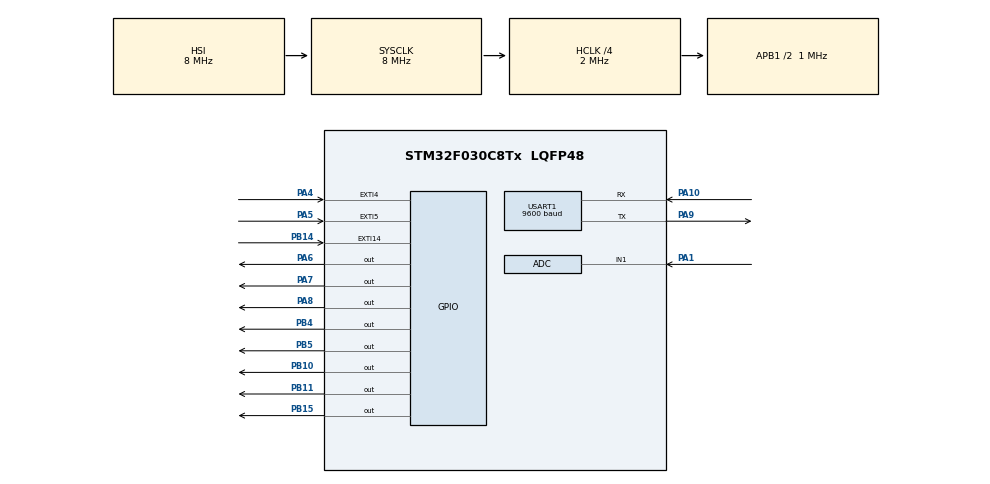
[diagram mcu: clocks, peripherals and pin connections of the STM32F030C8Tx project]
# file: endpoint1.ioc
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ADC.ClockPrescaler=ADC_CLOCK_ASYNC_DIV1
ADC.ContinuousConvMode=DISABLE
ADC.DMAContinuousRequests=DISABLE
ADC.DataAlign=ADC_DATAALIGN_RIGHT
ADC.DiscontinuousConvMode=DISABLE
ADC.EOCSelection=ADC_EOC_SINGLE_CONV
ADC.EnableAnalogWatchDog=false
ADC.ExternalTrigConv=ADC_SOFTWARE_START
ADC.ExternalTrigConvEdge=ADC_EXTERNALTRIGCONVEDGE_NONE
ADC.LowPowerAutoPowerOff=ENABLE
ADC.LowPowerAutoWait=DISABLE
ADC.Overrun=ADC_OVR_DATA_PRESERVED
ADC.Resolution=ADC_RESOLUTION_8B
ADC.SamplingTime=ADC_SAMPLETIME_28CYCLES_5
ADC.ScanConvMode=ADC_SCAN_DIRECTION_FORWARD
Dma.Request0=USART1_RX
Dma.Request1=USART1_TX
Dma.USART1_RX.0.Direction=DMA_PERIPH_TO_MEMORY
Dma.USART1_RX.0.Instance=DMA1_Channel3
Dma.USART1_RX.0.MemDataAlignment=DMA_MDATAALIGN_BYTE
Dma.USART1_RX.0.MemInc=DMA_MINC_ENABLE
Dma.USART1_RX.0.Mode=DMA_CIRCULAR
Dma.USART1_RX.0.PeriphDataAlignment=DMA_PDATAALIGN_BYTE
Dma.USART1_RX.0.PeriphInc=DMA_PINC_DISABLE
Dma.USART1_RX.0.Priority=DMA_PRIORITY_LOW
Dma.USART1_TX.1.Direction=DMA_MEMORY_TO_PERIPH
Dma.USART1_TX.1.Instance=DMA1_Channel2
Dma.USART1_TX.1.MemDataAlignment=DMA_MDATAALIGN_BYTE
Dma.USART1_TX.1.MemInc=DMA_MINC_ENABLE
Dma.USART1_TX.1.Mode=DMA_NORMAL
Dma.USART1_TX.1.PeriphDataAlignment=DMA_PDATAALIGN_BYTE
Dma.USART1_TX.1.PeriphInc=DMA_PINC_DISABLE
Dma.USART1_TX.1.Priority=DMA_PRIORITY_LOW
Mcu.Family=STM32F0
Mcu.Name=STM32F030C8Tx
Mcu.Package=LQFP48
NVIC.ADC1_IRQn=true\:1\:0\:true\:false\:true\:true
NVIC.DMA1_Channel2_3_IRQn=true\:0\:0\:false\:false\:true\:false
NVIC.EXTI4_15_IRQn=true\:0\:0\:true\:false\:true\:true
NVIC.RTC_IRQn=true\:0\:0\:false\:false\:true\:true
NVIC.TIM6_IRQn=true\:0\:0\:true\:false\:true\:true
NVIC.USART1_IRQn=true\:0\:0\:true\:false\:true\:true
PA1.Mode=IN1
PA1.Signal=ADC_IN1
PA10.Mode=Asynchronous
PA10.Signal=USART1_RX
PA13.Mode=Serial_Wire
PA13.Signal=SYS_SWDIO
PA14.Mode=Serial_Wire
PA14.Signal=SYS_SWCLK
PA4.GPIO_ModeDefaultEXTI=GPIO_MODE_IT_RISING_FALLING
PA4.GPIO_PuPd=GPIO_PULLUP
PA4.Signal=GPXTI4
PA5.GPIO_ModeDefaultEXTI=GPIO_MODE_IT_RISING_FALLING
PA5.GPIO_PuPd=GPIO_PULLUP
PA5.Signal=GPXTI5
PA6.Signal=GPIO_Output
PA7.Signal=GPIO_Output
PA8.Signal=GPIO_Output
PA9.Mode=Asynchronous
PA9.Signal=USART1_TX
PB10.Signal=GPIO_Output
PB11.Signal=GPIO_Output
PB14.GPIO_ModeDefaultEXTI=GPIO_MODE_IT_RISING_FALLING
PB14.GPIO_PuPd=GPIO_PULLUP
PB14.Signal=GPXTI14
PB15.Signal=GPIO_Output
PB4.Signal=GPIO_Output
PB5.Signal=GPIO_Output
ProjectManager.HeapSize=0x200
ProjectManager.StackSize=0x400
ProjectManager.TargetToolchain=EWARM V7
RCC.AHBCLKDivider=RCC_SYSCLK_DIV4
RCC.AHBFreq_Value=2000000
RCC.APB1CLKDivider=RCC_HCLK_DIV2
RCC.APB1Freq_Value=1000000
RCC.APB1TimFreq_Value=2000000
RCC.HCLKFreq_Value=2000000
RCC.PLLMUL=RCC_PLL_MUL4
RCC.SYSCLKFreq_VALUE=8000000
RTC.Alarm-Alarm\ A=RTC_ALARM_A
TIM6.AutoReloadPreload=TIM_AUTORELOAD_PRELOAD_ENABLE
TIM6.Period=100
TIM6.Prescaler=2000
USART1.BaudRate=9600
USART1.Parity=PARITY_NONE
USART1.VirtualMode-Asynchronous=VM_ASYNC
USART1.WordLength=WORDLENGTH_8B
VP_RTC_VS_RTC_Activate.Mode=RTC_Enabled
VP_RTC_VS_RTC_Alarm_A_Intern.Mode=Alarm A
VP_RTC_VS_RTC_Calendar.Mode=RTC_Calendar
VP_TIM6_VS_ClockSourceINT.Mode=Enable_Timer
board=custom

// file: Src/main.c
/**
  ******************************************************************************
  * @file           : main.c
  * @brief          : Main program body
  ******************************************************************************
  ** This notice applies to any and all portions of this file
  * that are not between comment pairs USER CODE BEGIN and
  * USER CODE END. Other portions of this file, whether
  * inserted by the user or by software development tools
  * are owned by their respective copyright owners.
  *
  * COPYRIGHT(c) 2018 STMicroelectronics
  *
  * Redistribution and use in source and binary forms, with or without modification,
  * are permitted provided that the following conditions are met:
  *   1. Redistributions of source code must retain the above copyright notice,
  *      this list of conditions and the following disclaimer.
  *   2. Redistributions in binary form must reproduce the above copyright notice,
  *      this list of conditions and the following disclaimer in the documentation
  *      and/or other materials provided with the distribution.
  *   3. Neither the name of STMicroelectronics nor the names of its contributors
  *      may be used to endorse or promote products derived from this software
  *      without specific prior written permission.
  *
  * THIS SOFTWARE IS PROVIDED BY THE COPYRIGHT HOLDERS AND CONTRIBUTORS "AS IS"
  * AND ANY EXPRESS OR IMPLIED WARRANTIES, INCLUDING, BUT NOT LIMITED TO, THE
  * IMPLIED WARRANTIES OF MERCHANTABILITY AND FITNESS FOR A PARTICULAR PURPOSE ARE
  * DISCLAIMED. IN NO EVENT SHALL THE COPYRIGHT HOLDER OR CONTRIBUTORS BE LIABLE
  * FOR ANY DIRECT, INDIRECT, INCIDENTAL, SPECIAL, EXEMPLARY, OR CONSEQUENTIAL
  * DAMAGES (INCLUDING, BUT NOT LIMITED TO, PROCUREMENT OF SUBSTITUTE GOODS OR
  * SERVICES; LOSS OF USE, DATA, OR PROFITS; OR BUSINESS INTERRUPTION) HOWEVER
  * CAUSED AND ON ANY THEORY OF LIABILITY, WHETHER IN CONTRACT, STRICT LIABILITY,
  * OR TORT (INCLUDING NEGLIGENCE OR OTHERWISE) ARISING IN ANY WAY OUT OF THE USE
  * OF THIS SOFTWARE, EVEN IF ADVISED OF THE POSSIBILITY OF SUCH DAMAGE.
  *
  ******************************************************************************
  */
#include "main.h"
#include "stm32f0xx_hal.h"

/* USER CODE BEGIN Includes */
#include "Lora.h"
#include "beep.h"
#include "motor.h"
#include "hardware.h"
#include "crc16.h"
#include "lowpower.h"
/* USER CODE END Includes */

ADC_HandleTypeDef hadc;

RTC_HandleTypeDef hrtc;

TIM_HandleTypeDef htim6;

UART_HandleTypeDef huart1;
DMA_HandleTypeDef hdma_usart1_rx;
DMA_HandleTypeDef hdma_usart1_tx;

/* USER CODE BEGIN PV */
/* Private variables ---------------------------------------------------------*/
RTC_HandleTypeDef hrtc;
LoraPacket      gLoraPacket;
Device          gDevice;
uint32_t        gCount = 0;
uint8_t         gRTC_Flag = 0;
/* USER CODE END PV */

void SystemClock_Config(void);
static void MX_GPIO_Init(void);
static void MX_DMA_Init(void);
static void MX_USART1_UART_Init(void);
static void MX_ADC_Init(void);
static void MX_TIM6_Init(void);
static void MX_RTC_Init(void);

/* USER CODE BEGIN PFP */
/* Private function prototypes -----------------------------------------------*/

/* USER CODE END PFP */

int main(void)
{
  /* USER CODE BEGIN 1 */
    uint8_t mode = 0;
  /* USER CODE END 1 */

  /* MCU Configuration----------------------------------------------------------*/

  /* Reset of all peripherals, Initializes the Flash interface and the Systick. */
  HAL_Init();

  /* Configure the system clock */
  SystemClock_Config();

  /* Initialize all configured peripherals */
  MX_GPIO_Init();
  MX_DMA_Init();
  MX_USART1_UART_Init();
  MX_ADC_Init();
  MX_TIM6_Init();
  MX_RTC_Init();

  /* Infinite loop */
  /* USER CODE BEGIN WHILE */
    motor_init();

    LoraSetAndReadParamter(&huart1);

    //低功耗模式下调试延时，如果不加很难再次刷程序
    HAL_Delay(5000);

    CloseNotUsedPeriphClock();

    while (1)
    {

  /* USER CODE END WHILE */

  /* USER CODE BEGIN 3 */
        //理想情况是，有数据的时�?，aux会输出低电压�?
        //延迟2-3ms后数据�?过串口发送给mcu
        LowPowerInit(mode);
        HAL_PWR_EnterSTOPMode(PWR_LOWPOWERREGULATOR_ON, PWR_STOPENTRY_WFI);

        //while(gLoraPacket.isIdle);

        //时钟配置清空
        HAL_RCC_DeInit();
        //HSI时钟使能
        __HAL_RCC_DISABLE_IT(RCC_IT_HSIRDY);
        __HAL_RCC_HSI_ENABLE();
        while(!__HAL_RCC_GET_FLAG(RCC_FLAG_HSIRDY));
        //配置时钟和DMA
        SystemClock_Config();
        MX_DMA_Init();
        //串口重新配置
        UART_ReInit(&huart1);
        //等待接收数据完成
        while(!gLoraPacket.isIdle);
#if 1
        //判断系统唤醒类型，分别是adc中断唤醒，电机检测引脚中断唤�?
        //和aux引脚中断唤醒
        if (mode) {
            //在这唤醒的话那么就执行发送函数发送回应的数据
            if ( SyncCMDDone() == 1) {
                mode = 0;
            }
        } else {
            mode = ProcessTheData();
        }
#endif
    }
  /* USER CODE END 3 */

}

void SystemClock_Config(void)
{

  RCC_OscInitTypeDef RCC_OscInitStruct;
  RCC_ClkInitTypeDef RCC_ClkInitStruct;
  RCC_PeriphCLKInitTypeDef PeriphClkInit;

    /**Initializes the CPU, AHB and APB busses clocks
    */
  RCC_OscInitStruct.OscillatorType = RCC_OSCILLATORTYPE_HSI|RCC_OSCILLATORTYPE_HSI14
                              |RCC_OSCILLATORTYPE_LSI;
  RCC_OscInitStruct.HSIState = RCC_HSI_ON;
  RCC_OscInitStruct.HSI14State = RCC_HSI14_ON;
  RCC_OscInitStruct.HSICalibrationValue = 16;
  RCC_OscInitStruct.HSI14CalibrationValue = 16;
  RCC_OscInitStruct.LSIState = RCC_LSI_ON;
  RCC_OscInitStruct.PLL.PLLState = RCC_PLL_NONE;
  if (HAL_RCC_OscConfig(&RCC_OscInitStruct) != HAL_OK)
  {
    _Error_Handler(__FILE__, __LINE__);
  }

    /**Initializes the CPU, AHB and APB busses clocks
    */
  RCC_ClkInitStruct.ClockType = RCC_CLOCKTYPE_HCLK|RCC_CLOCKTYPE_SYSCLK
                              |RCC_CLOCKTYPE_PCLK1;
  RCC_ClkInitStruct.SYSCLKSource = RCC_SYSCLKSOURCE_HSI;
  RCC_ClkInitStruct.AHBCLKDivider = RCC_SYSCLK_DIV4;
  RCC_ClkInitStruct.APB1CLKDivider = RCC_HCLK_DIV2;

  if (HAL_RCC_ClockConfig(&RCC_ClkInitStruct, FLASH_LATENCY_0) != HAL_OK)
  {
    _Error_Handler(__FILE__, __LINE__);
  }

  PeriphClkInit.PeriphClockSelection = RCC_PERIPHCLK_USART1|RCC_PERIPHCLK_RTC;
  PeriphClkInit.Usart1ClockSelection = RCC_USART1CLKSOURCE_PCLK1;
  PeriphClkInit.RTCClockSelection = RCC_RTCCLKSOURCE_LSI;
  if (HAL_RCCEx_PeriphCLKConfig(&PeriphClkInit) != HAL_OK)
  {
    _Error_Handler(__FILE__, __LINE__);
  }

    /**Configure the Systick interrupt time
    */
  HAL_SYSTICK_Config(HAL_RCC_GetHCLKFreq()/1000);

    /**Configure the Systick
    */
  HAL_SYSTICK_CLKSourceConfig(SYSTICK_CLKSOURCE_HCLK);

  /* SysTick_IRQn interrupt configuration */
  HAL_NVIC_SetPriority(SysTick_IRQn, 0, 0);
}

/* ADC init function */
static void MX_ADC_Init(void)
{

  ADC_ChannelConfTypeDef sConfig;

    /**Configure the global features of the ADC (Clock, Resolution, Data Alignment and number of conversion)
    */
  hadc.Instance = ADC1;
  hadc.Init.ClockPrescaler = ADC_CLOCK_ASYNC_DIV1;
  hadc.Init.Resolution = ADC_RESOLUTION_8B;
  hadc.Init.DataAlign = ADC_DATAALIGN_RIGHT;
  hadc.Init.ScanConvMode = ADC_SCAN_DIRECTION_FORWARD;
  hadc.Init.EOCSelection = ADC_EOC_SINGLE_CONV;
  hadc.Init.LowPowerAutoWait = DISABLE;
  hadc.Init.LowPowerAutoPowerOff = ENABLE;
  hadc.Init.ContinuousConvMode = DISABLE;
  hadc.Init.DiscontinuousConvMode = DISABLE;
  hadc.Init.ExternalTrigConv = ADC_SOFTWARE_START;
  hadc.Init.ExternalTrigConvEdge = ADC_EXTERNALTRIGCONVEDGE_NONE;
  hadc.Init.DMAContinuousRequests = DISABLE;
  hadc.Init.Overrun = ADC_OVR_DATA_PRESERVED;
  if (HAL_ADC_Init(&hadc) != HAL_OK)
  {
    _Error_Handler(__FILE__, __LINE__);
  }

    /**Configure for the selected ADC regular channel to be converted.
    */
  sConfig.Channel = ADC_CHANNEL_1;
  sConfig.Rank = ADC_RANK_CHANNEL_NUMBER;
  sConfig.SamplingTime = ADC_SAMPLETIME_28CYCLES_5;
  if (HAL_ADC_ConfigChannel(&hadc, &sConfig) != HAL_OK)
  {
    _Error_Handler(__FILE__, __LINE__);
  }

}

/* RTC init function */
static void MX_RTC_Init(void)
{

  RTC_TimeTypeDef sTime;
  RTC_DateTypeDef sDate;
  RTC_AlarmTypeDef sAlarm;

    /**Initialize RTC Only
    */
  hrtc.Instance = RTC;
  hrtc.Init.HourFormat = RTC_HOURFORMAT_24;
  hrtc.Init.AsynchPrediv = 127;
  hrtc.Init.SynchPrediv = 255;
  hrtc.Init.OutPut = RTC_OUTPUT_DISABLE;
  hrtc.Init.OutPutPolarity = RTC_OUTPUT_POLARITY_HIGH;
  hrtc.Init.OutPutType = RTC_OUTPUT_TYPE_OPENDRAIN;
  if (HAL_RTC_Init(&hrtc) != HAL_OK)
  {
    _Error_Handler(__FILE__, __LINE__);
  }

    /**Initialize RTC and set the Time and Date
    */
  sTime.Hours = 0x0;
  sTime.Minutes = 0x0;
  sTime.Seconds = 0x0;
  sTime.DayLightSaving = RTC_DAYLIGHTSAVING_NONE;
  sTime.StoreOperation = RTC_STOREOPERATION_RESET;
  if (HAL_RTC_SetTime(&hrtc, &sTime, RTC_FORMAT_BCD) != HAL_OK)
  {
    _Error_Handler(__FILE__, __LINE__);
  }

  sDate.WeekDay = RTC_WEEKDAY_MONDAY;
  sDate.Month = RTC_MONTH_JANUARY;
  sDate.Date = 0x1;
  sDate.Year = 0x0;

  if (HAL_RTC_SetDate(&hrtc, &sDate, RTC_FORMAT_BCD) != HAL_OK)
  {
    _Error_Handler(__FILE__, __LINE__);
  }

    /**Enable the Alarm A
    */
  sAlarm.AlarmTime.Hours = 0x0;
  sAlarm.AlarmTime.Minutes = 0x0;
  sAlarm.AlarmTime.Seconds = 0x0;
  sAlarm.AlarmTime.SubSeconds = 0x0;
  sAlarm.AlarmTime.DayLightSaving = RTC_DAYLIGHTSAVING_NONE;
  sAlarm.AlarmTime.StoreOperation = RTC_STOREOPERATION_RESET;
  sAlarm.AlarmMask = RTC_ALARMMASK_NONE;
  sAlarm.AlarmSubSecondMask = RTC_ALARMSUBSECONDMASK_ALL;
  sAlarm.AlarmDateWeekDaySel = RTC_ALARMDATEWEEKDAYSEL_DATE;
  sAlarm.AlarmDateWeekDay = 0x1;
  sAlarm.Alarm = RTC_ALARM_A;
  if (HAL_RTC_SetAlarm_IT(&hrtc, &sAlarm, RTC_FORMAT_BCD) != HAL_OK)
  {
    _Error_Handler(__FILE__, __LINE__);
  }

}

/* TIM6 init function */
static void MX_TIM6_Init(void)
{

  htim6.Instance = TIM6;
  htim6.Init.Prescaler = 2000;
  htim6.Init.CounterMode = TIM_COUNTERMODE_UP;
  htim6.Init.Period = 100;
  htim6.Init.AutoReloadPreload = TIM_AUTORELOAD_PRELOAD_ENABLE;
  if (HAL_TIM_Base_Init(&htim6) != HAL_OK)
  {
    _Error_Handler(__FILE__, __LINE__);
  }

}

/* USART1 init function */
static void MX_USART1_UART_Init(void)
{

  huart1.Instance = USART1;
  huart1.Init.BaudRate = 9600;
  huart1.Init.WordLength = UART_WORDLENGTH_8B;
  huart1.Init.StopBits = UART_STOPBITS_1;
  huart1.Init.Parity = UART_PARITY_NONE;
  huart1.Init.Mode = UART_MODE_TX_RX;
  huart1.Init.HwFlowCtl = UART_HWCONTROL_NONE;
  huart1.Init.OverSampling = UART_OVERSAMPLING_16;
  huart1.Init.OneBitSampling = UART_ONE_BIT_SAMPLE_DISABLE;
  huart1.AdvancedInit.AdvFeatureInit = UART_ADVFEATURE_NO_INIT;
  if (HAL_UART_Init(&huart1) != HAL_OK)
  {
    _Error_Handler(__FILE__, __LINE__);
  }

}

static void MX_DMA_Init(void)
{
  /* DMA controller clock enable */
  __HAL_RCC_DMA1_CLK_ENABLE();

  /* DMA interrupt init */
  /* DMA1_Channel2_3_IRQn interrupt configuration */
  HAL_NVIC_SetPriority(DMA1_Channel2_3_IRQn, 0, 0);
  HAL_NVIC_EnableIRQ(DMA1_Channel2_3_IRQn);

}

/** Configure pins as
        * Analog
        * Input
        * Output
        * EVENT_OUT
        * EXTI
        * Free pins are configured automatically as Analog (this feature is enabled through
        * the Code Generation settings)
*/
static void MX_GPIO_Init(void)
{

  GPIO_InitTypeDef GPIO_InitStruct;

  /* GPIO Ports Clock Enable */
  __HAL_RCC_GPIOC_CLK_ENABLE();
  __HAL_RCC_GPIOF_CLK_ENABLE();
  __HAL_RCC_GPIOA_CLK_ENABLE();
  __HAL_RCC_GPIOB_CLK_ENABLE();

  /*Configure GPIO pin Output Level */
  HAL_GPIO_WritePin(GPIOA, GPIO_PIN_6|GPIO_PIN_7|GPIO_PIN_8, GPIO_PIN_RESET);

  /*Configure GPIO pin Output Level */
  HAL_GPIO_WritePin(GPIOB, GPIO_PIN_10|GPIO_PIN_11|GPIO_PIN_15|GPIO_PIN_4
                          |GPIO_PIN_5, GPIO_PIN_RESET);

  /*Configure GPIO pins : PC13 PC14 PC15 */
  GPIO_InitStruct.Pin = GPIO_PIN_13|GPIO_PIN_14|GPIO_PIN_15;
  GPIO_InitStruct.Mode = GPIO_MODE_ANALOG;
  GPIO_InitStruct.Pull = GPIO_NOPULL;
  HAL_GPIO_Init(GPIOC, &GPIO_InitStruct);

  /*Configure GPIO pins : PF0 PF1 PF6 PF7 */
  GPIO_InitStruct.Pin = GPIO_PIN_0|GPIO_PIN_1|GPIO_PIN_6|GPIO_PIN_7;
  GPIO_InitStruct.Mode = GPIO_MODE_ANALOG;
  GPIO_InitStruct.Pull = GPIO_NOPULL;
  HAL_GPIO_Init(GPIOF, &GPIO_InitStruct);

  /*Configure GPIO pins : PA0 PA2 PA3 PA11
                           PA12 PA15 */
  GPIO_InitStruct.Pin = GPIO_PIN_0|GPIO_PIN_2|GPIO_PIN_3|GPIO_PIN_11
                          |GPIO_PIN_12|GPIO_PIN_15;
  GPIO_InitStruct.Mode = GPIO_MODE_ANALOG;
  GPIO_InitStruct.Pull = GPIO_NOPULL;
  HAL_GPIO_Init(GPIOA, &GPIO_InitStruct);

  /*Configure GPIO pins : PA4 PA5 */
  GPIO_InitStruct.Pin = GPIO_PIN_4|GPIO_PIN_5;
  GPIO_InitStruct.Mode = GPIO_MODE_IT_RISING_FALLING;
  GPIO_InitStruct.Pull = GPIO_PULLUP;
  HAL_GPIO_Init(GPIOA, &GPIO_InitStruct);

  /*Configure GPIO pins : PA6 PA7 PA8 */
  GPIO_InitStruct.Pin = GPIO_PIN_6|GPIO_PIN_7|GPIO_PIN_8;
  GPIO_InitStruct.Mode = GPIO_MODE_OUTPUT_PP;
  GPIO_InitStruct.Pull = GPIO_NOPULL;
  GPIO_InitStruct.Speed = GPIO_SPEED_FREQ_LOW;
  HAL_GPIO_Init(GPIOA, &GPIO_InitStruct);

  /*Configure GPIO pins : PB0 PB1 PB2 PB12
                           PB13 PB3 PB6 PB7
                           PB8 PB9 */
  GPIO_InitStruct.Pin = GPIO_PIN_0|GPIO_PIN_1|GPIO_PIN_2|GPIO_PIN_12
                          |GPIO_PIN_13|GPIO_PIN_3|GPIO_PIN_6|GPIO_PIN_7
                          |GPIO_PIN_8|GPIO_PIN_9;
  GPIO_InitStruct.Mode = GPIO_MODE_ANALOG;
  GPIO_InitStruct.Pull = GPIO_NOPULL;
  HAL_GPIO_Init(GPIOB, &GPIO_InitStruct);

  /*Configure GPIO pins : PB10 PB11 PB15 PB4
                           PB5 */
  GPIO_InitStruct.Pin = GPIO_PIN_10|GPIO_PIN_11|GPIO_PIN_15|GPIO_PIN_4
                          |GPIO_PIN_5;
  GPIO_InitStruct.Mode = GPIO_MODE_OUTPUT_PP;
  GPIO_InitStruct.Pull = GPIO_NOPULL;
  GPIO_InitStruct.Speed = GPIO_SPEED_FREQ_LOW;
  HAL_GPIO_Init(GPIOB, &GPIO_InitStruct);

  /*Configure GPIO pin : PB14 */
  GPIO_InitStruct.Pin = GPIO_PIN_14;
  GPIO_InitStruct.Mode = GPIO_MODE_IT_RISING_FALLING;
  GPIO_InitStruct.Pull = GPIO_PULLUP;
  HAL_GPIO_Init(GPIOB, &GPIO_InitStruct);

  /* EXTI interrupt init*/
  HAL_NVIC_SetPriority(EXTI4_15_IRQn, 0, 0);
  HAL_NVIC_EnableIRQ(EXTI4_15_IRQn);

}

void _Error_Handler(char *file, int line)
{
    while(1)
    {
    }
}

/************************ (C) COPYRIGHT STMicroelectronics *****END OF FILE****/
